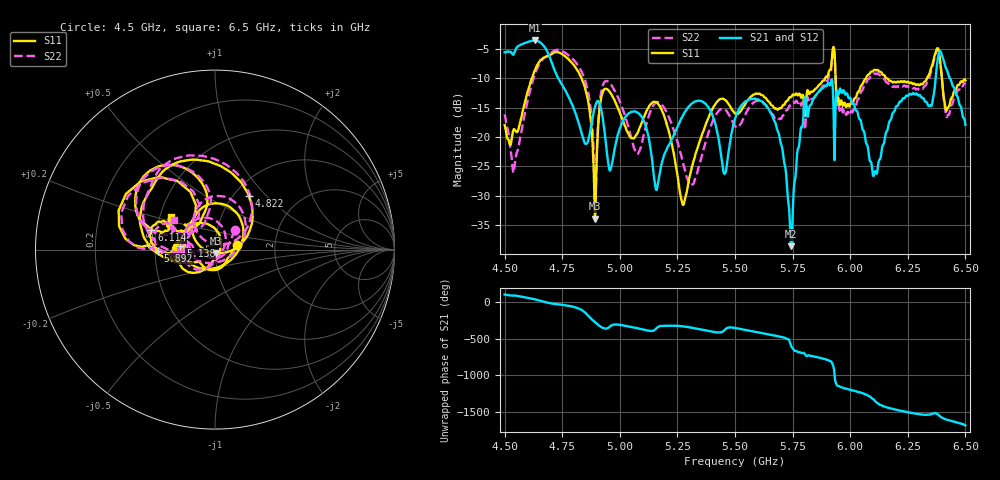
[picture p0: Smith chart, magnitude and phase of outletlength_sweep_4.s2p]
! TOUCHSTONE file generated by CST MICROWAVE STUDIO
! Date and time: Fri Nov 29 14:48:29 2024
! Project name: dual_circularly_polarized_waveguide_antenna.cst
! Parameters = {airCoaxOuterDiameter=3; chamferAngle=45; chamferWidth=24; connectorLength=10; drillingHoleDiameter=4.1; feedLength=60; flareDiameter=130; flareLength=70; gratingDistance=0; gratingGap=1.90274; outletLength=90; polarizerLength=134; probe1Diameter=1.3; probe1Distance=14.068; probe1Leng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
! Header version: 2018
! Port assignment regex: !\s*Touchstone port\s*([0-9]+)\s*=\s*(CST MWS port|CST DS port)\s*([0-9]+|Zmin|Zmax)\s*\(\"(.*)\"\)(\s*mode\s*([0-9]+))?.*
! Touchstone port assignment:
! Touchstone port 1 = CST MWS port 1 ("Input1")
! Touchstone port 2 = CST MWS port 2 ("Input2")
# GHz S MA R 50
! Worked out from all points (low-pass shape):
!   1001 points, 4.5 GHz to 6.5 GHz, reference 50 ohm
!   highest |S21| = -3.55 dB at 4.63 GHz (marker M1); lowest = -38.6 dB at 5.744 GHz (marker M2)
!   |S21| within 3 dB of the highest: start of sweep to 4.697 GHz; 6.380733 GHz to 6.402138 GHz (21.41 MHz wide, 0.335 % of centre)
!   lowest |S11| = -33.9 dB at 4.892 GHz (marker M3), VSWR 1.04, Z = 50.3 - j2 ohm
!   |S11| at or under -10 dB: 4.834 GHz to 5.891 GHz (1.057 GHz wide, 19.7 % of centre); 5.937 GHz to 6.069 GHz (131.9 MHz wide, 2.2 % of centre); 6.157 GHz to 6.333 GHz (176.5 MHz wide, 2.83 % of centre)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
!   |S22| runs from -30.9 to -4.9 dB; largest |S21 - S12| = 1.2e-06
!   S11 on the Smith chart (normalised r, x): 4.5 GHz: 1.28, +0.07; 4.822 GHz: 1.17, +0.80; 5.138 GHz: 0.68, +0.03; 5.892 GHz: 0.52, -0.01; 6.114 GHz: 0.47, +0.12; 6.5 GHz: 0.57, +0.23
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4.5  0.1263 12.5  0.5265 108.7  0.5265 108.7  0.1558 43.1
4.542  0.1165 -111.8  0.5204 95.9  0.5204 95.9  0.05417 -123.3
4.63  0.3643 176.6  0.6645 43.7  0.6645 43.7  0.335 172.1
4.822  0.3536 57.7  0.1312 -83.6  0.1312 -83.6  0.3977 64.5
4.834  0.3173 49.4  0.1078 -102.1  0.1078 -102.1  0.3616 57.4
4.892  0.02018 -79.8  0.1804 90.0  0.1804 90.0  0.0361 48.6
4.932  0.2548 97.3  0.1186 4.3  0.1186 4.3  0.2921 96.6
5.074  0.1056 -95.6  0.1624 7.8  0.1624 7.8  0.07185 -69.5
5.138  0.1939 174.1  0.06898 -31.9  0.06898 -31.9  0.1743 166.4
5.168  0.1895 135.5  0.04256 26.6  0.04256 26.6  0.1978 127.0
5.274  0.0265 -21.1  0.1521 31.9  0.1521 31.9  0.06026 25.7
5.456  0.2074 -164.0  0.04879 -15.1  0.04879 -15.1  0.1712 -164.4
5.5  0.1588 -170.0  0.1431 9.8  0.1431 9.8  0.1234 -173.2
5.654  0.1919 172.0  0.161 -83.3  0.161 -83.3  0.1648 168.1
5.744  0.2196 -174.2  0.01178 118.3  0.01178 118.3  0.1867 -173.8
5.834  0.2428 -175.3  0.1971 -15.7  0.1971 -15.7  0.2099 -173.7
5.892  0.3182 -178.6  0.2748 -61.0  0.2748 -61.0  0.2904 -176.5
6.114  0.3703 163.0  0.04872 65.1  0.04872 65.1  0.3453 164.1
6.168  0.3034 150.8  0.1314 -7.7  0.1314 -7.7  0.2796 150.5
6.392  0.4156 103.8  0.5359 -130.1  0.5359 -130.1  0.4185 102.5
6.422  0.1751 135.9  0.3626 -173.3  0.3626 -173.3  0.1518 130.8
6.5  0.3046 143.8  0.1271 110.0  0.1271 110.0  0.2818 144.4
